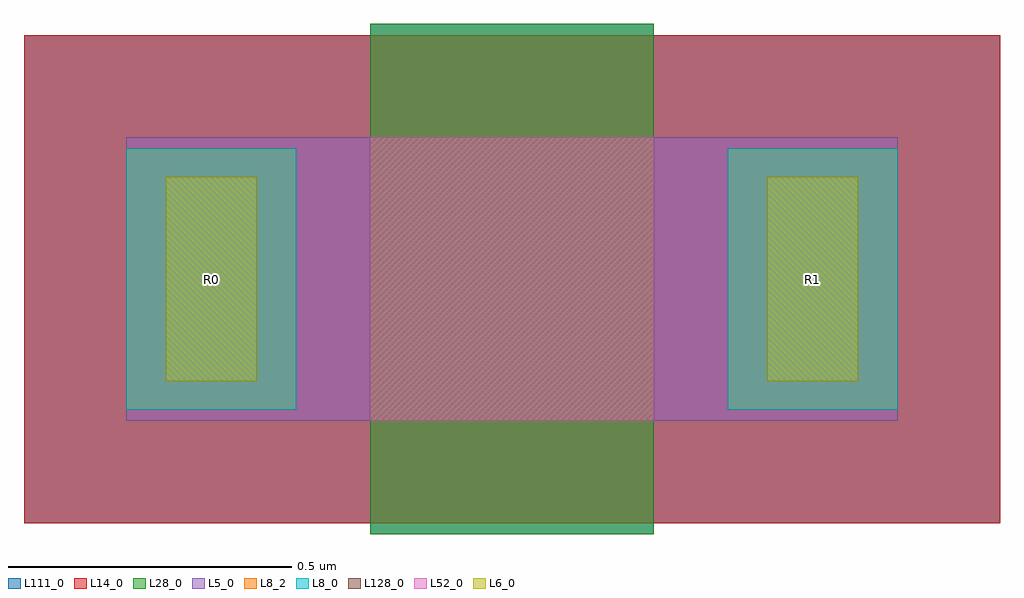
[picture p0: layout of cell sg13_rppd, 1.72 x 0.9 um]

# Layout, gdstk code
from math import pi, radians
import gdstk
lib = gdstk.Library(unit=1e-6, precision=5e-09)
def R(c, l, rs):  # rectangles x0, y0, x1, y1
    for r in rs: c.add(gdstk.rectangle(r[:2], r[2:], *l))
L5_0 = (5, 0)
L6_0 = (6, 0)
L8_0 = (8, 0)
L8_2 = (8, 2)
L14_0 = (14, 0)
L28_0 = (28, 0)
L52_0 = (52, 0)
L111_0 = (111, 0)
L128_0 = (128, 0)

rppd = lib.new_cell('rppd')
R(rppd, L5_0, [(0,-0.43,0.5,-0.2), (0,-0.2,0.5,0), (0,0.5,0.5,0.7), (0,0.7,0.5,0.93)])
R(rppd, L6_0, [(0.07,-0.36,0.43,-0.2), (0.07,0.7,0.43,0.86)])
R(rppd, L8_0, [(0.02,-0.43,0.48,-0.13), (0.02,0.63,0.48,0.93)])
R(rppd, L8_2, [(0.02,-0.43,0.48,-0.13), (0.02,0.63,0.48,0.93)])
R(rppd, L14_0, [(-0.18,-0.61,0.68,0), (-0.18,0,0.68,0.5), (-0.18,0.5,0.68,1.11)])
R(rppd, L28_0, [(-0.2,0,0.7,0.5)])
R(rppd, L52_0, [(0,0,0.5,0.5)])
R(rppd, L111_0, [(-0.18,-0.61,0.68,0), (-0.2,0,0.7,0.5), (-0.18,0.5,0.68,1.11)])
R(rppd, L128_0, [(0,0,0.5,0.5)])
rppd.add(gdstk.Label('rppd r=396.917', (0.25,0.25), layer=63, texttype=0))
rppd.add(gdstk.Label('rppd', (0.25,0.25), layer=52, texttype=0))

sg13_rppd = lib.new_cell('sg13_rppd')
R(sg13_rppd, L8_2, [(0.265,0.385,0.395,0.515), (1.325,0.385,1.455,0.515)])
sg13_rppd.add(gdstk.Reference(rppd, (0.61,0.7), rotation=3*pi/2))
sg13_rppd.add(gdstk.Label('R0', (0.33,0.45), layer=8, texttype=25))
sg13_rppd.add(gdstk.Label('R1', (1.39,0.45), layer=8, texttype=25))

lib.write_gds('sg13_rppd.gds')
